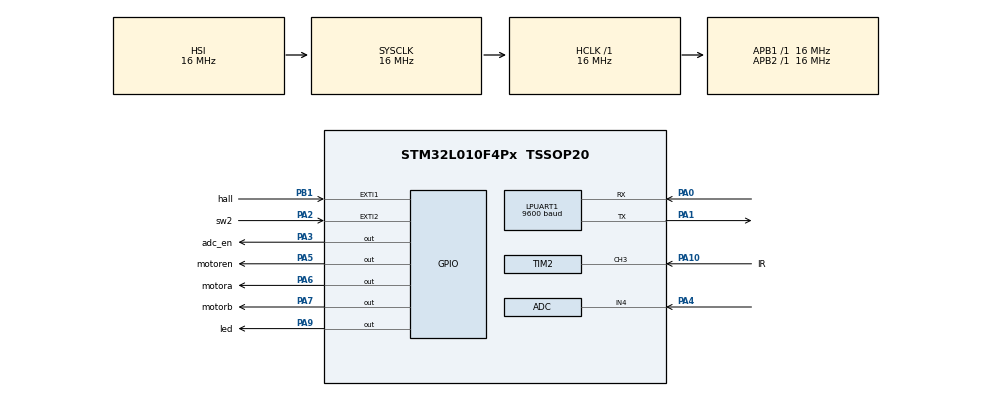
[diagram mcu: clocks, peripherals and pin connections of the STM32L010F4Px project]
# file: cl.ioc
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ADC.ClockPrescaler=ADC_CLOCK_SYNC_PCLK_DIV2
ADC.ContinuousConvMode=ENABLE
ADC.DMAContinuousRequests=ENABLE
ADC.EOCSelection=ADC_EOC_SEQ_CONV
ADC.LowPowerAutoPowerOff=DISABLE
ADC.Overrun=ADC_OVR_DATA_OVERWRITTEN
ADC.OversamplingMode=DISABLE
ADC.SamplingTime=ADC_SAMPLETIME_160CYCLES_5
Dma.ADC.0.Direction=DMA_PERIPH_TO_MEMORY
Dma.ADC.0.Instance=DMA1_Channel1
Dma.ADC.0.MemDataAlignment=DMA_MDATAALIGN_HALFWORD
Dma.ADC.0.MemInc=DMA_MINC_ENABLE
Dma.ADC.0.Mode=DMA_CIRCULAR
Dma.ADC.0.PeriphDataAlignment=DMA_PDATAALIGN_HALFWORD
Dma.ADC.0.PeriphInc=DMA_PINC_DISABLE
Dma.ADC.0.Priority=DMA_PRIORITY_LOW
Dma.Request0=ADC
LPUART1.BaudRate=9600
LPUART1.WordLength=UART_WORDLENGTH_8B
Mcu.Family=STM32L0
Mcu.Name=STM32L010F4Px
Mcu.Package=TSSOP20
NVIC.EXTI0_1_IRQn=true\:2\:0\:true\:false\:true\:true\:true
NVIC.EXTI2_3_IRQn=true\:0\:0\:false\:false\:true\:true\:true
NVIC.LPUART1_IRQn=true\:0\:0\:false\:false\:true\:true\:true
NVIC.TIM21_IRQn=true\:1\:0\:true\:false\:true\:true\:true
NVIC.TIM2_IRQn=true\:0\:0\:false\:false\:true\:true\:true
PA0-CK_IN.Mode=Asynchronous
PA0-CK_IN.Signal=LPUART1_RX
PA1.Mode=Asynchronous
PA1.Signal=LPUART1_TX
PA10.GPIO_Label=IR
PA10.GPIO_PuPd=GPIO_PULLUP
PA10.GPIO_Speed=GPIO_SPEED_FREQ_HIGH
PA10.Signal=S_TIM2_CH3
PA13.Mode=Serial_Wire
PA13.Signal=SYS_SWDIO
PA14.Mode=Serial_Wire
PA14.Signal=SYS_SWCLK
PA2.GPIO_Label=sw2
PA2.GPIO_ModeDefaultEXTI=GPIO_MODE_IT_FALLING
PA2.GPIO_PuPd=GPIO_PULLUP
PA2.Signal=GPXTI2
PA3.GPIO_Label=adc_en
PA3.GPIO_PuPd=GPIO_PULLUP
PA3.PinState=GPIO_PIN_SET
PA3.Signal=GPIO_Output
PA4.Mode=IN4
PA4.Signal=ADC_IN4
PA5.GPIO_Label=motoren
PA5.Signal=GPIO_Output
PA6.GPIO_Label=motora
PA6.Signal=GPIO_Output
PA7.GPIO_Label=motorb
PA7.Signal=GPIO_Output
PA9.GPIO_Label=led
PA9.GPIO_PuPd=GPIO_NOPULL
PA9.Signal=GPIO_Output
PB1.GPIO_Label=hall
PB1.GPIO_ModeDefaultEXTI=GPIO_MODE_IT_RISING_FALLING
PB1.GPIO_PuPd=GPIO_PULLUP
PB1.Signal=GPXTI1
ProjectManager.HeapSize=0x200
ProjectManager.StackSize=0x400
ProjectManager.TargetToolchain=MDK-ARM V5
RCC.ADCFreq_Value=16000000
RCC.AHBFreq_Value=16000000
RCC.APB1Freq_Value=16000000
RCC.APB1TimFreq_Value=16000000
RCC.APB2Freq_Value=16000000
RCC.APB2TimFreq_Value=16000000
RCC.HCLKFreq_Value=16000000
RCC.HSE_VALUE=8000000
RCC.HSI16_VALUE=16000000
RCC.HSI_VALUE=16000000
RCC.LSE_VALUE=32768
RCC.Lpuart1ClockSelection=RCC_LPUART1CLKSOURCE_HSI
RCC.MSIClockRange=RCC_MSIRANGE_6
RCC.MSI_VALUE=4194000
RCC.PLLMUL=RCC_PLLMUL_4
RCC.PWR_Regulator_Voltage_Scale=PWR_REGULATOR_VOLTAGE_SCALE2
RCC.SYSCLKFreq_VALUE=16000000
RCC.SYSCLKSource=RCC_SYSCLKSOURCE_HSI
RCC.VCOOutputFreq_Value=64000000
SH.S_TIM2_CH3.0=TIM2_CH3,Input_Capture3_from_TI3
TIM2.AutoReloadPreload=TIM_AUTORELOAD_PRELOAD_ENABLE
TIM2.Channel-Input_Capture3_from_TI3=TIM_CHANNEL_3
TIM2.ClockDivision=TIM_CLOCKDIVISION_DIV1
TIM2.ICPolarity_CH3=TIM_INPUTCHANNELPOLARITY_FALLING
TIM2.Prescaler=16-1
TIM21.AutoReloadPreload=TIM_AUTORELOAD_PRELOAD_ENABLE
TIM21.Period=15000
TIM21.Prescaler=1600-1
VP_TIM21_VS_ClockSourceINT.Mode=Internal
VP_TIM2_VS_ClockSourceINT.Mode=Internal
board=custom

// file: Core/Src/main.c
/* USER CODE BEGIN Header */
/**
  ******************************************************************************
  * @file           : main.c
  * @brief          : Main program body
  ******************************************************************************
  * @attention
  *
  * <h2><center>&copy; Copyright (c) 2020 STMicroelectronics.
  * All rights reserved.</center></h2>
  *
  * This software component is licensed by ST under BSD 3-Clause license,
  * the "License"; You may not use this file except in compliance with the
  * License. You may obtain a copy of the License at:
  *                        opensource.org/licenses/BSD-3-Clause
  *
  ******************************************************************************
  */
/* USER CODE END Header */
#include "main.h"
#include "adc.h"
#include "dma.h"
#include "usart.h"
#include "tim.h"
#include "gpio.h"

/* USER CODE BEGIN Includes */
#include <stdio.h>
#include "IR.h"
#include "stop.h"
#include "motor.h"
#include "wifi.h"

/* USER CODE END Includes */

/* USER CODE BEGIN PD */

//#define USER_MAIN_DEBUG
#define tuya

#ifdef USER_MAIN_DEBUG

#define log(format, ...) printf( format "\r\n",##__VA_ARGS__)

#else
#define log(format, ...)

#endif
/* USER CODE END PD */

/* USER CODE BEGIN PV */

uint16_t adcbuf[10]; //电池adc
uint8_t hall_flag=1;    //霍尔低电平标志
uint8_t CONTROL=0x01;  //控制状态
uint16_t time=0,time1,time2,now=0,min=0,max=600;
uint32_t temp = 0;//用于接收红外数据
uint16_t rx_temp[1]; //串口接收

#ifdef tuya
uint8_t PERCENT_CONTROL=0,AUTO_POWER=1,BATTERY_PERCENTAGE;
uint8_t PERCENT_STATE=0;
uint16_t now_control=0xffff;
#endif
/* USER CODE END PV */

void SystemClock_Config(void);
/* USER CODE BEGIN PFP */
int fputc(int ch, FILE *f)	  //重写fputc函数 代码可放在usart.c或者主函数里
{
	 uint8_t temp[1]={ch};
    HAL_UART_Transmit(&hlpuart1,temp,1,2);
	return ch;
}
/* USER CODE END PFP */

/* USER CODE BEGIN 0 */
void adcbat(void)
{
  HAL_GPIO_WritePin(adc_en_GPIO_Port, adc_en_Pin, GPIO_PIN_SET);
  HAL_ADC_Start_DMA(&hadc,(uint32_t *)adcbuf,10);
  HAL_Delay(10);
	HAL_ADC_Stop_DMA(&hadc);
	HAL_GPIO_WritePin(adc_en_GPIO_Port, adc_en_Pin, GPIO_PIN_RESET);
  uint8_t i;
		for(i=0;i<9;i++)
	{
		adcbuf[0]+=adcbuf[i+1];

	}
	  adcbuf[0]/=10;

#ifdef tuya
	if(adcbuf[0]<2048)
	{
		adcbuf[0]=2048;
	}
		BATTERY_PERCENTAGE=(adcbuf[0]-2048)*100/560;
	if(BATTERY_PERCENTAGE>100)
	{
		BATTERY_PERCENTAGE=100;
	}
	mcu_dp_value_update(DPID_BATTERY_PERCENTAGE,BATTERY_PERCENTAGE); //上报电量百分比
#endif

}

/* USER CODE END 0 */

int main(void)
{

  /* MCU Configuration--------------------------------------------------------*/

  /* Reset of all peripherals, Initializes the Flash interface and the Systick. */
  HAL_Init();

  /* Configure the system clock */
  SystemClock_Config();

  /* Initialize all configured peripherals */
  MX_GPIO_Init();
  MX_DMA_Init();
  MX_ADC_Init();
  MX_LPUART1_UART_Init();
  MX_TIM2_Init();
  MX_TIM21_Init();
  /* USER CODE BEGIN 2 */

	IR_Init();
	HAL_TIM_Base_Start_IT(&htim21);
	HAL_TIM_Base_Stop(&htim21);
	adcbat();
	HAL_GPIO_WritePin(led_GPIO_Port, led_Pin, GPIO_PIN_SET);

#ifdef tuya
	wifi_protocol_init();
  HAL_UART_Receive_IT(&hlpuart1,(uint8_t *)rx_temp, 1);//开接收中断
#endif
  /* USER CODE END 2 */

  /* Infinite loop */
  /* USER CODE BEGIN WHILE */
  while (1)
  {
#ifdef tuya
		if(HAL_GPIO_ReadPin(sw2_GPIO_Port, sw2_Pin)==0)               //检测按键按下2000ms进入配网模式
		{
			HAL_GPIO_WritePin(led_GPIO_Port, led_Pin, GPIO_PIN_SET);
			HAL_Delay(2000);
			if(HAL_GPIO_ReadPin(sw2_GPIO_Port, sw2_Pin)==0)
		  {
				HAL_GPIO_WritePin(led_GPIO_Port, led_Pin, GPIO_PIN_RESET);
				mcu_reset_wifi();
			}
			HAL_Delay(100);

		switch(mcu_get_wifi_work_state())                   //查询配网状态
			{
				case SMART_CONFIG_STATE: //Smart 配置状态 LED 快闪 ，led 闪烁请用户完成
				  while(mcu_get_wifi_work_state() == SMART_CONFIG_STATE )
					{
						HAL_GPIO_WritePin(led_GPIO_Port, led_Pin, GPIO_PIN_SET);
						HAL_Delay(250);
						HAL_GPIO_WritePin(led_GPIO_Port, led_Pin, GPIO_PIN_RESET);
						HAL_Delay(250);
          }
					break;
				case AP_STATE: //AP 配置状态 LED 慢闪，led 闪烁请用户完成
				  while(mcu_get_wifi_work_state() == AP_STATE )
					{
						HAL_GPIO_WritePin(led_GPIO_Port, led_Pin, GPIO_PIN_SET);
						HAL_Delay(1500);
						HAL_GPIO_WritePin(led_GPIO_Port, led_Pin, GPIO_PIN_RESET);
						HAL_Delay(1500);
					}
					break;
				case WIFI_NOT_CONNECTED: //WIFI 配置完成，正在连接路由器
					HAL_GPIO_WritePin(led_GPIO_Port, led_Pin, GPIO_PIN_SET);
					break;
				case WIFI_CONN_CLOUD: //wifi 已连上云端 LED 常亮
					HAL_GPIO_WritePin(led_GPIO_Port, led_Pin, GPIO_PIN_SET);
					break;
				default:break;
			}
		}

		PERCENT_STATE=now*100/max;
		mcu_dp_value_update(DPID_PERCENT_STATE,PERCENT_STATE); //上报开启状态百分比 100为全关闭
#endif

		HAL_Delay(1000);

		if(HAL_GPIO_ReadPin(motoren_GPIO_Port, motoren_Pin)==0 )   //检测待机进入stop模式
		{

			//HAL_UART_MspDeInit(&hlpuart1);

			HAL_GPIO_WritePin(led_GPIO_Port, led_Pin, GPIO_PIN_RESET);
	    HAL_TIM_IC_Stop_IT(&IR_TIM, IR_TIM_CHANNE);
    	HAL_TIM_Base_MspDeInit(&htim2);
			HAL_ADC_MspDeInit(&hadc);
    	HAL_ADC_DeInit(&hadc);
    	__HAL_RCC_DMA1_CLK_DISABLE();

			enter_stop_mode();

			adcbat();
			log("vbat=%d\r\n",adcbuf[0]);
		}

			if(adcbuf[0]<2000)
		{
			HAL_GPIO_WritePin(led_GPIO_Port, led_Pin, GPIO_PIN_RESET);
			HAL_Delay(1000);
			HAL_GPIO_WritePin(led_GPIO_Port, led_Pin, GPIO_PIN_SET);
		}

    /* USER CODE END WHILE */

  }
}

void SystemClock_Config(void)
{
  RCC_OscInitTypeDef RCC_OscInitStruct = {0};
  RCC_ClkInitTypeDef RCC_ClkInitStruct = {0};
  RCC_PeriphCLKInitTypeDef PeriphClkInit = {0};

  /** Configure the main internal regulator output voltage
  */
  __HAL_PWR_VOLTAGESCALING_CONFIG(PWR_REGULATOR_VOLTAGE_SCALE2);
  /** Initializes the RCC Oscillators according to the specified parameters
  * in the RCC_OscInitTypeDef structure.
  */
  RCC_OscInitStruct.OscillatorType = RCC_OSCILLATORTYPE_HSI;
  RCC_OscInitStruct.HSIState = RCC_HSI_ON;
  RCC_OscInitStruct.HSICalibrationValue = RCC_HSICALIBRATION_DEFAULT;
  RCC_OscInitStruct.PLL.PLLState = RCC_PLL_NONE;
  if (HAL_RCC_OscConfig(&RCC_OscInitStruct) != HAL_OK)
  {
    Error_Handler();
  }
  /** Initializes the CPU, AHB and APB buses clocks
  */
  RCC_ClkInitStruct.ClockType = RCC_CLOCKTYPE_HCLK|RCC_CLOCKTYPE_SYSCLK
                              |RCC_CLOCKTYPE_PCLK1|RCC_CLOCKTYPE_PCLK2;
  RCC_ClkInitStruct.SYSCLKSource = RCC_SYSCLKSOURCE_HSI;
  RCC_ClkInitStruct.AHBCLKDivider = RCC_SYSCLK_DIV1;
  RCC_ClkInitStruct.APB1CLKDivider = RCC_HCLK_DIV1;
  RCC_ClkInitStruct.APB2CLKDivider = RCC_HCLK_DIV1;

  if (HAL_RCC_ClockConfig(&RCC_ClkInitStruct, FLASH_LATENCY_1) != HAL_OK)
  {
    Error_Handler();
  }
  PeriphClkInit.PeriphClockSelection = RCC_PERIPHCLK_LPUART1;
  PeriphClkInit.Lpuart1ClockSelection = RCC_LPUART1CLKSOURCE_HSI;
  if (HAL_RCCEx_PeriphCLKConfig(&PeriphClkInit) != HAL_OK)
  {
    Error_Handler();
  }
}

/* USER CODE BEGIN 4 */
void HAL_TIM_IC_CaptureCallback(TIM_HandleTypeDef *htim)//捕获回调函数
{
	if (TIM2 == htim->Instance)
	{
		IR_CaptureCallback();
		if (IR_Scanf(&temp))
		{
			log("%X\r\n", temp);
			switch(temp)
			{
				case 0x00FFE01F:   //左关       //同时控制左右
						 close();
						 break;
				case 0x00FFA857:  //右开
						 open();
						 break;
				case 0x00FF906F:    //停
						 stop();
						 break;

//				case 0x00FF6897:   //左关      //单独控制左边
//						 close();
//						 break;
//				case 0x00FF9867:  //右开
//						 open();
//						 break;
//				case 0x00FFB04F:    //停
//						 stop();
//						 break;

//						case 0x00FF22DD:   //左关    //单独控制右边
//                 close();
//                 break;
//						case 0x00FF02FD:  //右开
//                 open();
//                 break;
//						case 0x00FFC23D:    //停
//                 stop();
//                 break;

				default:break;
			}
	  }
	}
}

void HAL_GPIO_EXTI_Callback(uint16_t GPIO_Pin)
{
	if(GPIO_Pin == IR_Pin)
	{

	}

  if(GPIO_Pin == sw2_Pin)
	{
	}

	if(GPIO_Pin == hall_Pin)
  {

    if(hall_flag ==0)
    {
       hall_flag=1;
       stop();
    }
    else
    {
      time++;
      if(time==1)
			{
				if(HAL_GPIO_ReadPin(hall_GPIO_Port, hall_Pin)==0)
				{
				__HAL_TIM_SetCounter(&htim21,0);
				HAL_TIM_Base_Start(&htim21);
				}
				else
				time=0;
			}
			if(time==2)
			{ if(HAL_GPIO_ReadPin(hall_GPIO_Port, hall_Pin)==1)
				{
					HAL_TIM_Base_Stop(&htim21);
				time1=__HAL_TIM_GetCounter(&htim21);
				log("time1=%d\r\n",time1);
				__HAL_TIM_SetCounter(&htim21,0);
      	HAL_TIM_Base_Start(&htim21);
				}
			}
			if(time==3)
			{
				if(HAL_GPIO_ReadPin(hall_GPIO_Port, hall_Pin)==0)
				{
					HAL_TIM_Base_Stop(&htim21);
					time2=__HAL_TIM_GetCounter(&htim21);
					log("time2=%d\r\n",time2);

					if(time1<time2)
					{
						now--;
						if(now == 0xffff)
						{
							now=0;
						}

						log("now=%d\r\n",now);

						if(CONTROL==0x01 && now>=min+1)
						{
							#ifdef tuya
							if(AUTO_POWER ==1)
							{
							#endif

							open();

							#ifdef tuya
							}
							#endif
					  }
				  }
					else if(time1>time2)
					{
						now++;
						log("now=%d\r\n",now);

						if(CONTROL==0x01 && now<=max-1 )
						{
							#ifdef tuya
							if(AUTO_POWER ==1)
							{
							#endif

							close();

							#ifdef tuya
							}
							#endif
						}
					}

					#ifdef tuya
					if(now==now_control)
					{
						stop();
						now_control=0xffff;
					}
					#endif

				time=1;
				__HAL_TIM_SetCounter(&htim21,0);
				HAL_TIM_Base_Start(&htim21);
			  }
			}
		}
		if(CONTROL == 0x02)
		       {
		      	if(now >= max)
		       	{
		      		stop();

		      	}
	      	}
		if(CONTROL == 0x00)
		       {
		      	if(now <= min)
	       		{
		      		stop();

		      	}
		       }
	}
}

void HAL_TIM_PeriodElapsedCallback(TIM_HandleTypeDef *htim)
{
	if (htim->Instance == TIM21)
	{
		if(CONTROL == 0x02 && max==600 )
		{
			max=now;
			log("max=%d",max);
		}

		stop();
	}
}

#ifdef tuya
void HAL_UART_RxCpltCallback(UART_HandleTypeDef *huart)
{
	if(huart->Instance == LPUART1)
	{
		 uart_receive_input(rx_temp[0]);
		 HAL_UART_Receive_IT(&hlpuart1,(uint8_t *)rx_temp, 1);//开接收中断
		 wifi_uart_service();
	}
}
#endif
/* USER CODE END 4 */

void Error_Handler(void)
{
  __disable_irq();
  while (1)
  {
  }
}

/************************ (C) COPYRIGHT STMicroelectronics *****END OF FILE****/
